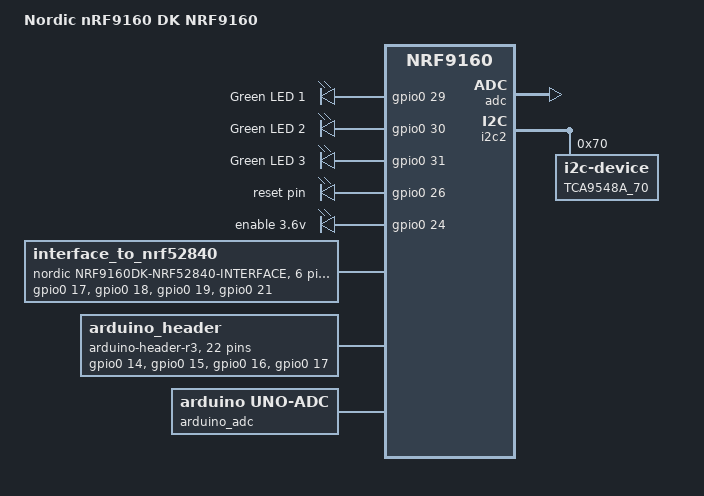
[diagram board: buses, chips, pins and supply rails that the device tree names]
/*
 * Copyright (c) 2018-2020 Nordic Semiconductor ASA
 *
 * SPDX-License-Identifier: Apache-2.0
 */
#include "nrf9160dk_nrf9160_common-pinctrl.dtsi"

/ {
	model = "Nordic nRF9160 DK NRF9160";
	compatible = "nordic,nrf9160-dk-nrf9160";

	chosen {
		zephyr,console = &uart0;
		zephyr,shell-uart = &uart0;
		zephyr,uart-mcumgr = &uart0;
	};

	leds {
		compatible = "gpio-leds";
		led0: led_0 {
			gpios = <&gpio0 29 0>;
			label = "Green LED 1";
		};
		led1: led_1 {
			gpios = <&gpio0 30 0>;
			label = "Green LED 2";
		};
		led2: led_2 {
			gpios = <&gpio0 31 0>;
			label = "Green LED 3";
		};
		rst: rst_pin {
			gpios = <&gpio0 26 0>;
			label = "reset pin";
		};
		enable3v6: enable_3v6_pin {
			gpios = <&gpio0 24 0>;
			label = "enable 3.6v";
		};
	};


	interface_to_nrf52840: gpio-interface {
		compatible = "nordic,nrf9160dk-nrf52840-interface";
		#gpio-cells = <2>;
		gpio-map-mask = <0xf 0>;
		gpio-map-pass-thru = <0 0xffffffff>;
		gpio-map = <0 0 &gpio0 17 0>,
			   <1 0 &gpio0 18 0>,
			   <2 0 &gpio0 19 0>,
			   <3 0 &gpio0 21 0>,
			   <4 0 &gpio0 22 0>,
			   <5 0 &gpio0 23 0>;
			   /* 6: COEX0 */
			   /* 7: COEX1 */
			   /* 8: COEX2 */
	};

	nrf52840_reset: gpio-reset {
		compatible = "nordic,nrf9160dk-nrf52840-reset";
		status = "disabled";
		/*
		 * This line is specified as active high for compatibility
		 * with the previously used Kconfig-based configuration.
		 */
		gpios = <&interface_to_nrf52840 5 GPIO_ACTIVE_HIGH>;
	};

	arduino_header: connector {
		compatible = "arduino-header-r3";
		#gpio-cells = <2>;
		gpio-map-mask = <0xffffffff 0xffffffc0>;
		gpio-map-pass-thru = <0 0x3f>;
		gpio-map = <0 0 &gpio0 14 0>,	/* A0 */
			   <1 0 &gpio0 15 0>,	/* A1 */
			   <2 0 &gpio0 16 0>,	/* A2 */
			   <3 0 &gpio0 17 0>,	/* A3 */
			   <4 0 &gpio0 18 0>,	/* A4 */
			   <5 0 &gpio0 19 0>,	/* A5 */
			   <6 0 &gpio0 0 0>,	/* D0 */
			   <7 0 &gpio0 1 0>,	/* D1 */
			   <8 0 &gpio0 2 0>,	/* D2 */
			   <9 0 &gpio0 3 0>,	/* D3 */
			   <10 0 &gpio0 4 0>,	/* D4 */
			   <11 0 &gpio0 5 0>,	/* D5 */
			   <12 0 &gpio0 6 0>,	/* D6 */
			   <13 0 &gpio0 7 0>,	/* D7 */
			   <14 0 &gpio0 8 0>,	/* D8 */
			   <15 0 &gpio0 9 0>,	/* D9 */
			   <16 0 &gpio0 10 0>,	/* D10 */
			   <17 0 &gpio0 11 0>,	/* D11 */
			   <18 0 &gpio0 12 0>,	/* D12 */
			   <19 0 &gpio0 13 0>,	/* D13 */
			   <20 0 &gpio0 30 0>,	/* D14 */
			   <21 0 &gpio0 31 0>;	/* D15 */
	};

	arduino_adc: analog-connector {
		compatible = "arduino,uno-adc";
		#io-channel-cells = <1>;
		io-channel-map = <0 &adc 1>,	/* A0 = P0.14 = AIN1 */
				 <1 &adc 2>,	/* A1 = P0.15 = AIN2 */
				 <2 &adc 3>,	/* A2 = P0.16 = AIN3 */
				 <3 &adc 4>,	/* A3 = P0.17 = AIN4 */
				 <4 &adc 5>,	/* A4 = P0.18 = AIN5 */
				 <5 &adc 6>;	/* A5 = P0.19 = AIN6 */
	};

	/* These aliases are provided for compatibility with samples */
	aliases {
		led0 = &led0;
		led1 = &led1;
		led2 = &led2;
		rstpin = &rst;
		enable3v6 = &enable3v6;
		bootloader-led0 = &led0;
		mcuboot-led0 = &led0;
		watchdog0 = &wdt0;
	};
};

&adc {
	status = "okay";
};

&gpiote {
	status = "okay";
};

&gpio0 {
	status = "okay";
};


arduino_i2c: &i2c2 {
	compatible = "nordic,nrf-twim";
	status = "okay";
	pinctrl-0 = <&i2c2_default>;
	pinctrl-1 = <&i2c2_sleep>;
	pinctrl-names = "default", "sleep";
	tca9548a_70: tca9548a@70 {
		compatible = "i2c-device";
		status = "okay";
		reg = <0x70>;
		label = "TCA9548A_70";
	};
};

&flash0 {

	partitions {
		compatible = "fixed-partitions";
		#address-cells = <1>;
		#size-cells = <1>;

		boot_partition: partition@0 {
			label = "mcuboot";
			reg = <0x00000000 0x10000>;
		};
		slot0_partition: partition@10000 {
			label = "image-0";
		};
		slot0_ns_partition: partition@50000 {
			label = "image-0-nonsecure";
		};
		slot1_partition: partition@80000 {
			label = "image-1";
		};
		slot1_ns_partition: partition@c0000 {
			label = "image-1-nonsecure";
		};
		/* 0xf0000 to 0xf7fff reserved for TF-M partitions */
		storage_partition: partition@f8000 {
			label = "storage";
			reg = <0x000f8000 0x00008000>;
		};
	};
};

/ {

	reserved-memory {
		#address-cells = <1>;
		#size-cells = <1>;
		ranges;

		sram0_s: image_s@20000000 {
			/* Secure image memory */
		};

		sram0_modem: image_modem@20016000 {
			/* Modem (shared) memory */
		};

		sram0_ns: image_ns@20020000 {
			/* Non-Secure image memory */
		};
	};
};

/* Include partition configuration file */
#include "nrf9160dk_nrf9160_partition_conf.dts"
